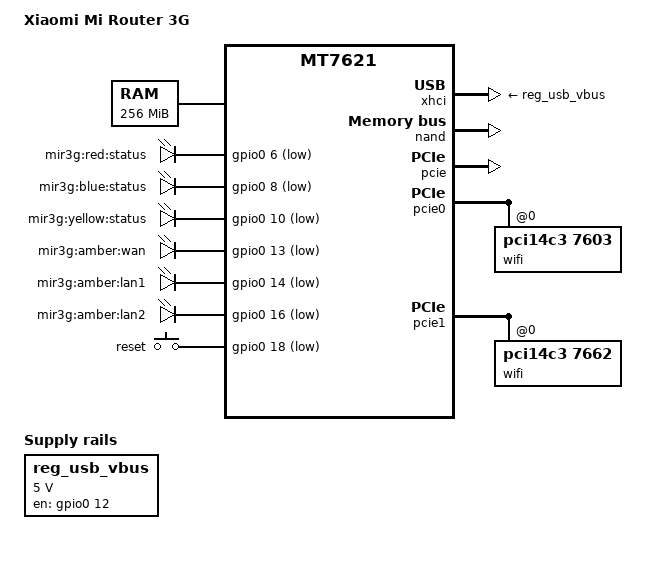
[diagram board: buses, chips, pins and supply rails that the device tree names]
/dts-v1/;

#include "mt7621.dtsi"

#include <dt-bindings/gpio/gpio.h>
#include <dt-bindings/input/input.h>

/ {
	compatible = "xiaomi,mir3g", "mediatek,mt7621-soc";
	model = "Xiaomi Mi Router 3G";

	aliases {
		led-boot = &led_status_blue;
		led-failsafe = &led_status_blue;
		led-running = &led_status_blue;
		led-upgrade = &led_status_blue;
	};

	memory@0 {
		device_type = "memory";
		reg = <0x0 0x10000000>;
	};

	chosen {
		bootargs = "console=ttyS0,115200n8";
	};

	gpio-leds {
		compatible = "gpio-leds";

		status_red {
			label = "mir3g:red:status";
			gpios = <&gpio0 6 GPIO_ACTIVE_LOW>;
		};

		led_status_blue: status_blue {
			label = "mir3g:blue:status";
			gpios = <&gpio0 8 GPIO_ACTIVE_LOW>;
		};

		status_yellow {
			label = "mir3g:yellow:status";
			gpios = <&gpio0 10 GPIO_ACTIVE_LOW>;
		};

		wan_amber {
			label = "mir3g:amber:wan";
			gpios = <&gpio0 13 GPIO_ACTIVE_LOW>;
		};

		lan1_amber {
			label = "mir3g:amber:lan1";
			gpios = <&gpio0 14 GPIO_ACTIVE_LOW>;
		};

		lan2_amber {
			label = "mir3g:amber:lan2";
			gpios = <&gpio0 16 GPIO_ACTIVE_LOW>;
		};
	};

	gpio-keys-polled {
		compatible = "gpio-keys-polled";
		poll-interval = <20>;

		reset {
			label = "reset";
			gpios = <&gpio0 18 GPIO_ACTIVE_LOW>;
			linux,code = <KEY_RESTART>;
		};
	};

	reg_usb_vbus: reg_usb_vbus {
		compatible = "regulator-fixed";
		regulator-name = "usb_vbus";
		regulator-min-microvolt = <5000000>;
		regulator-max-microvolt = <5000000>;
		gpio = <&gpio0 12 GPIO_ACTIVE_HIGH>;
		enable-active-high;
	};
};

&xhci {
	vbus-supply = <&reg_usb_vbus>;
};

&nand {
	status = "okay";

	partitions {
		compatible = "fixed-partitions";
		#address-cells = <1>;
		#size-cells = <1>;

		partition@0 {
			label = "Bootloader";
			reg = <0x0 0x80000>;
			read-only;
		};

		partition@80000 {
			label = "Config";
			reg = <0x80000 0x40000>;
		};

		partition@c0000 {
			label = "Bdata";
			reg = <0xc0000 0x40000>;
			read-only;
		};

		factory: partition@100000 {
			label = "Factory";
			reg = <0x100000 0x40000>;
			read-only;
		};

		partition@140000 {
			label = "crash";
			reg = <0x140000 0x40000>;
		};

		partition@180000 {
			label = "crash_syslog";
			reg = <0x180000 0x40000>;
		};

		partition@1c0000 {
			label = "reserved0";
			reg = <0x1c0000 0x40000>;
			read-only;
		};

		/* uboot expects to find kernels at 0x200000 & 0x600000
		 * referred to as system 1 & system 2 respectively.
		 * a kernel is considered suitable for handing control over
		 * if its linux magic number exists & uImage CRC are correct.
		 * If either of those conditions fail, a matching sys'n'_fail flag
		 * is set in uboot env & a restart performed in the hope that the
		 * alternate kernel is okay.
		 * if neither kernel checksums ok and both are marked failed, system 2
		 * is booted anyway.
		 *
		 * Note uboot's tftp flash install writes the transferred
		 * image to both kernel partitions.
		 */

		partition@200000 {
			label = "kernel_stock";
			reg = <0x200000 0x400000>;
		};

		partition@600000 {
			label = "kernel";
			reg = <0x600000 0x400000>;
		};

		/* ubi partition is the result of squashing
		 * next consecutive stock partitions:
		 * - rootfs0 (rootfs partition for stock kernel0),
		 * - rootfs1 (rootfs partition for stock failsafe kernel1),
		 * - overlay (used as ubi overlay in stock fw)
		 * resulting 117,5MiB space for packages.
		 */

		partition@a00000 {
			label = "ubi";
			reg = <0xa00000 0x7580000>;
		};
	};
};

&pcie {
	status = "okay";
};

&pcie0 {
	wifi@0,0 {
		compatible = "pci14c3,7603";
		reg = <0x0000 0 0 0 0>;
		mediatek,mtd-eeprom = <&factory 0x0000>;
		ieee80211-freq-limit = <2400000 2500000>;
	};
};

&pcie1 {
	wifi@0,0 {
		compatible = "pci14c3,7662";
		reg = <0x0000 0 0 0 0>;
		mediatek,mtd-eeprom = <&factory 0x8000>;
		ieee80211-freq-limit = <5000000 6000000>;
	};
};

&ethernet {
	mtd-mac-address = <&factory 0xe000>;
	mediatek,portmap = "lwlll";
};

&pinctrl {
	state_default: pinctrl0 {
		gpio {
			ralink,group = "jtag", "uart2", "uart3", "wdt";
			ralink,function = "gpio";
		};
	};
};
